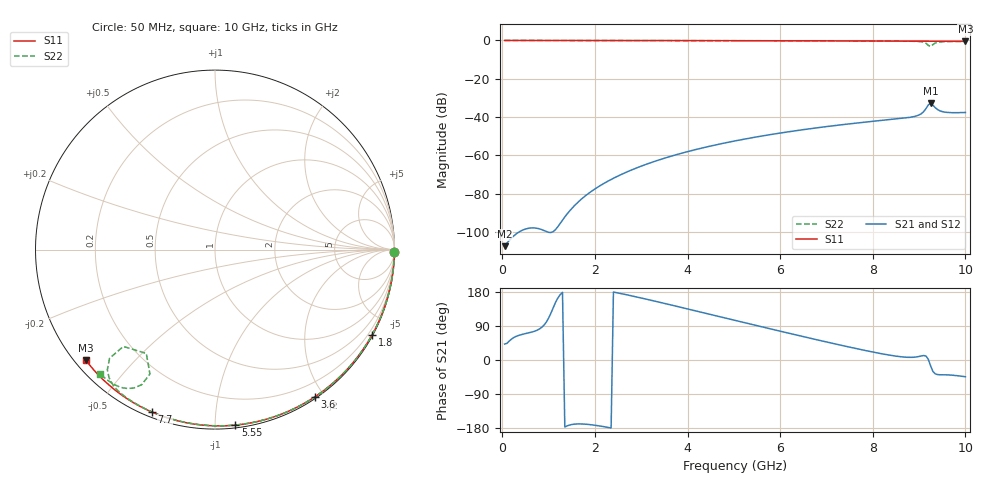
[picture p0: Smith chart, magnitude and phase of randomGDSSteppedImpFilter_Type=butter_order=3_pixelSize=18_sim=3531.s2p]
! freq	dB(S11)	phase(S11)	dB(S12)	phase(S12)
!  dB(S21)	phase(S21)	dB(S22)	phase(S22)
!S-par simulation data
#  GHz  S  DB  R 50
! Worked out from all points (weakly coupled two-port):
!   200 points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, 50 MHz to 10 GHz, reference 50 ohm
!   highest |S21| = -32.84 dB at 9.25 GHz (marker M1); lowest = -107.4 dB at 50 MHz (marker M2)
!   lowest |S11| = -0.5 dB at 10 GHz (marker M3), VSWR 36.74, Z = 1.55 - j18.4 ohm
!   |S11| at or under -10 dB: nowhere
!   |S22| runs from -3.2 to 0.0 dB; largest |S21 - S12| = 0
!   S11 on the Smith chart (normalised r, x): 50 MHz: open; 1.8 GHz: 0.03, -3.92; 3.6 GHz: 0.02, -1.89; 5.55 GHz: 0.02, -1.12; 7.7 GHz: 0.02, -0.68; 10 GHz: 0.03, -0.37
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0.05  -0.00 -0.8  -107.40 42.1  -107.40 42.1  -0.00 -0.8
1.75  -0.04 -27.8  -81.99 -169.0  -81.99 -169.0  -0.03 -26.7
1.8  -0.04 -28.6  -81.01 -169.4  -81.01 -169.4  -0.03 -27.5
1.85  -0.04 -29.4  -80.09 -169.9  -80.09 -169.9  -0.04 -28.2
2.15  -0.04 -34.0  -75.26 -175.0  -75.26 -175.0  -0.04 -32.7
2.55  -0.05 -40.2  -70.18 175.6  -70.18 175.6  -0.05 -38.6
3.4  -0.07 -52.9  -62.25 152.3  -62.25 152.3  -0.07 -50.9
3.6  -0.08 -55.9  -60.75 146.5  -60.75 146.5  -0.07 -53.7
5.05  -0.12 -76.5  -52.33 103.8  -52.33 103.8  -0.11 -73.7
5.55  -0.14 -83.3  -50.12 89.1  -50.12 89.1  -0.13 -80.3
6.7  -0.19 -98.5  -45.91 56.0  -45.91 56.0  -0.18 -95.2
7.7  -0.26 -111.3  -42.99 28.6  -42.99 28.6  -0.24 -107.8
8.35  -0.31 -119.4  -41.38 13.1  -41.38 13.1  -0.30 -116.3
8.9  -0.36 -126.1  -39.69 7.4  -39.69 7.4  -0.43 -125.3
9.1  -0.38 -128.5  -37.14 11.9  -37.14 11.9  -0.93 -131.9
9.15  -0.38 -129.1  -35.53 10.4  -35.53 10.4  -1.47 -134.1
9.2  -0.38 -129.7  -33.64 1.6  -33.64 1.6  -2.58 -133.4
9.25  -0.39 -130.4  -32.84 -15.9  -32.84 -15.9  -3.18 -123.5
9.3  -0.39 -131.0  -33.81 -30.4  -33.81 -30.4  -2.13 -117.6
9.4  -0.40 -132.2  -36.10 -38.5  -36.10 -38.5  -0.97 -120.4
9.6  -0.43 -134.7  -37.55 -39.2  -37.55 -39.2  -0.58 -126.0
10  -0.47 -139.5  -37.59 -44.2  -37.59 -44.2  -0.51 -132.6
